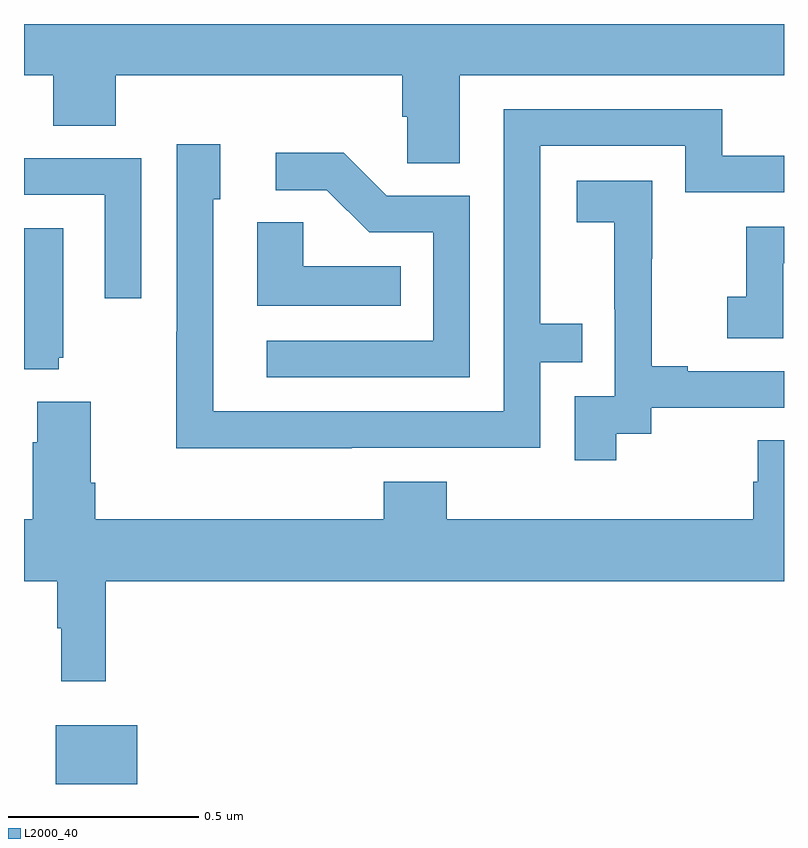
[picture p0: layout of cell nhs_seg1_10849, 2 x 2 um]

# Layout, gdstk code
import gdstk
lib = gdstk.Library(unit=1e-6, precision=1e-09)
def R(c, l, rs):  # rectangles x0, y0, x1, y1
    for r in rs: c.add(gdstk.rectangle(r[:2], r[2:], *l))
def P(c, l, *ps):  # polygons
    for p in ps: c.add(gdstk.Polygon(p, *l))
L2000_40 = (2000, 40)

nhs_seg1_10849 = lib.new_cell('nhs_seg1_10849')
R(nhs_seg1_10849, L2000_40, [(246.083,551.199,246.298,551.353)])
P(nhs_seg1_10849, L2000_40, [(247.147,553.064),(248,553.064),(248,553.199),(246,553.199),(246,553.064),(246.077,553.064),(246.077,552.931),(246.242,552.931),(246.242,553.064),(246.995,553.064),(246.995,552.955),(247.008,552.955),(247.008,552.832),(247.147,552.832)],
  [(246.863,552.084),(247.359,552.084),(247.359,552.309),(247.469,552.309),(247.469,552.41),(247.359,552.41),(247.359,552.879),(247.74,552.879),(247.74,552.756),(248,552.756),(248,552.852),(247.837,552.852),(247.837,552.975),(247.263,552.975),(247.263,552.18),(246.498,552.18),(246.498,552.738),(246.517,552.738),(246.517,552.883),(246.402,552.883),(246.402,552.389),(246.4,552.389),(246.4,552.083),(246.863,552.083)],
  [(247.173,552.747),(246.954,552.747),(246.841,552.86),(246.663,552.86),(246.663,552.762),(246.797,552.762),(246.908,552.651),(247.077,552.651),(247.077,552.366),(246.639,552.366),(246.639,552.27),(247.173,552.27)],
  [(246.309,552.846),(246,552.846),(246,552.75),(246.213,552.75),(246.213,552.477),(246.309,552.477)],
  [(247.558,552.121),(247.65,552.121),(247.65,552.189),(248,552.189),(248,552.285),(247.747,552.285),(247.747,552.298),(247.652,552.298),(247.652,552.581),(247.653,552.581),(247.653,552.787),(247.455,552.787),(247.455,552.677),(247.553,552.677),(247.553,552.449),(247.554,552.449),(247.554,552.219),(247.449,552.219),(247.449,552.051),(247.558,552.051)],
  [(246.992,552.562),(246.735,552.562),(246.735,552.677),(246.614,552.677),(246.614,552.458),(246.992,552.458)],
  [(247.998,552.57),(248,552.57),(248,552.666),(247.9,552.666),(247.9,552.481),(247.851,552.481),(247.851,552.372),(247.998,552.372)],
  [(246.092,552.321),(246.103,552.321),(246.103,552.661),(246,552.661),(246,552.29),(246.092,552.29)],
  [(246.215,551.732),(248,551.732),(248,552.104),(247.931,552.104),(247.931,551.994),(247.919,551.994),(247.919,551.896),(247.112,551.896),(247.112,551.995),(246.947,551.995),(246.947,551.896),(246.188,551.896),(246.188,551.992),(246.175,551.992),(246.175,552.205),(246.035,552.205),(246.035,552.098),(246.023,552.098),(246.023,551.896),(246,551.896),(246,551.732),(246.087,551.732),(246.087,551.609),(246.098,551.609),(246.098,551.469),(246.215,551.469)])

lib.write_gds('nhs_seg1_10849.gds')
